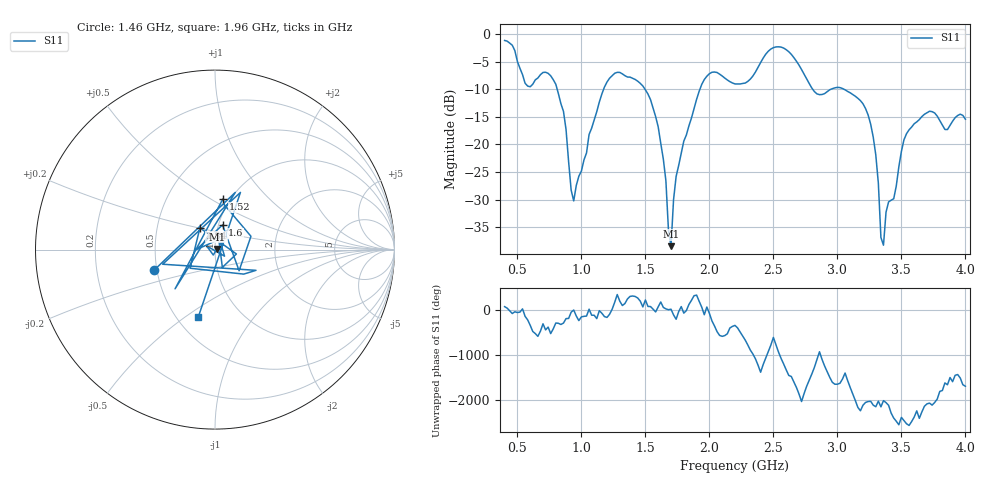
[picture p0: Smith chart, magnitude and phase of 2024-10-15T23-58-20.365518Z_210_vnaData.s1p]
! Created with skrf (http://scikit-rf.org).
# Hz S RI R 50.0
!freq ReS11 ImS11
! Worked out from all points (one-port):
!   181 points, 400 MHz to 4 GHz, reference 50 ohm
!   lowest |S11| = -38.4 dB at 1.7 GHz (marker M1), VSWR 1.02, Z = 51.1 + j0.398 ohm
!   |S11| at or under -10 dB: 810.6 MHz to 1.174 GHz (363.3 MHz wide, 36.6 % of centre); 1.496 GHz to 1.926 GHz (429.7 MHz wide, 25.1 % of centre); 3.05 GHz to end of sweep (the widest 3 of 4)
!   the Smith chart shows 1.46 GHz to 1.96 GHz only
!   S11 on the Smith chart (normalised r, x): 1.46 GHz: 0.48, -0.13; 1.52 GHz: 0.92, +0.57; 1.6 GHz: 1.05, +0.29; 1.84 GHz: 0.82, +0.20; 1.96 GHz: 0.64, -0.56
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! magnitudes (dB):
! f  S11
! 400 MHz  -1.2
! 580 MHz  -9.4
! 760 MHz  -7.6
! 860 MHz  -14.0
! 940 MHz  -30.2
! 1.16 GHz  -10.9
! 1.3 GHz  -7.0
! 1.46 GHz  -9.0
! 1.52 GHz  -10.9
! 1.6 GHz  -16.8
! 1.66 GHz  -26.5
! 1.7 GHz  -38.4
! 1.72 GHz  -30.0
! 1.76 GHz  -23.8
! 1.84 GHz  -16.6
! 1.96 GHz  -8.3
! 2.2 GHz  -9.1
! 2.5 GHz  -2.5
! 2.66 GHz  -4.3
! 2.84 GHz  -10.9
! 3.1 GHz  -10.7
! 3.26 GHz  -16.3
! 3.3 GHz  -21.9
! 3.34 GHz  -36.8
! 3.36 GHz  -38.2
! 3.38 GHz  -32.3
! 3.56 GHz  -17.4
! 4 GHz  -15.4
